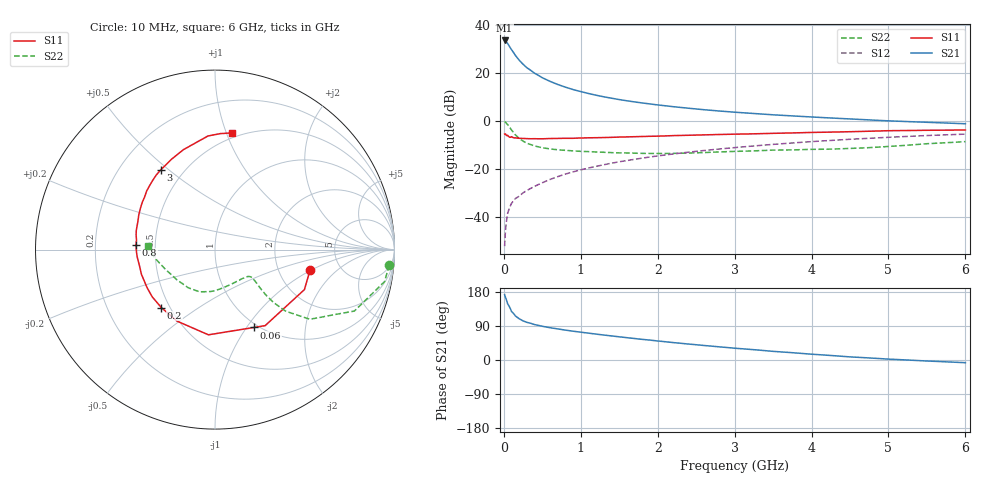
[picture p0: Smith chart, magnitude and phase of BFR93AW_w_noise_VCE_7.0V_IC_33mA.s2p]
! Infineon Technologies  Discrete & RF Semiconductors
! BFR93AW
! VCE =  7.0 V,  IC =  33 mA
! Common Emitter S-Parameters:  Jan 2017
# GHz  S  MA  R  50
!  f  S11  S21  S12  S22
! GHz  MAG  ANG  MAG  ANG  MAG  ANG  MAG  ANG
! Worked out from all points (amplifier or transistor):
!   77 points, 10 MHz to 6 GHz, reference 50 ohm
!   highest |S21| = 33.6 dB at 10 MHz (marker M1)
!   |S21| within 3 dB of that: start of sweep to 82.93 MHz
!   unconditionally stable (mu >= 1): 592.6 MHz to 2.027 GHz
!   at 130 MHz: K = 0.52, MSG = 30.7 dB, |S12| = -33.0 dB
!   at 2.2 GHz: K = 0.98, MSG = 9.9 dB, |S12| = -13.7 dB
!   at 6 GHz: K = 0.87, MSG = 2.2 dB, |S12| = -5.4 dB
!   lowest NFmin = 1.88 dB at 450 MHz
!   S11 on the Smith chart (normalised r, x): 10 MHz: 3.02, -0.97; 60 MHz: 0.95, -1.08; 200 MHz: 0.45, -0.36; 800 MHz: 0.39, +0.03; 3 GHz: 0.38, +0.47; 6 GHz: 0.46, +1.04
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0.01  0.5418 -12.1  48 172.5  0.0025 86.3  0.975 -5.1
0.02  0.5458 -24.1  47.53 166.0  0.0049 80.2  0.9612 -10.7
0.05  0.5075 -56.6  41.4 148.1  0.0121 69.2  0.8485 -23.8
0.06  0.4848 -63.5  38.98 145.0  0.0136 67.0  0.8073 -25.8
0.1  0.4762 -94.4  30.89 128.1  0.0195 61.4  0.6553 -36.3
0.15  0.4511 -118.0  23.46 116.3  0.0245 59.4  0.5204 -41.1
0.2  0.4402 -132.8  18.59 108.8  0.0275 60.1  0.4374 -42.1
0.25  0.4377 -143.1  15.34 103.2  0.0323 60.8  0.3851 -41.8
0.3  0.4338 -150.7  12.96 99.4  0.0361 62.8  0.3473 -41.0
0.4  0.4323 -161.3  9.957 93.4  0.0439 65.5  0.3049 -39.2
0.5  0.4305 -168.9  8.036 89.0  0.0523 67.6  0.2801 -38.0
0.6  0.4357 -174.7  6.759 85.2  0.0613 68.1  0.2649 -37.4
0.7  0.4383 -179.3  5.821 82.1  0.07 69.6  0.2541 -37.2
0.8  0.4409 176.5  5.12 78.9  0.0793 70.5  0.2471 -37.6
1.1  0.4513 166.3  3.777 70.9  0.106 70.4  0.2326 -41.1
1.5  0.4668 155.4  2.821 61.2  0.143 68.6  0.2189 -49.3
2.1  0.4943 141.6  2.094 48.2  0.1985 64.6  0.213 -67.4
3  0.537 124.4  1.541 31.1  0.282 56.9  0.2353 -96.4
3.1  0.5404 122.6  1.502 29.6  0.2913 55.9  0.2372 -99.3
4.1  0.5871 106.1  1.201 14.0  0.3843 46.0  0.2601 -128.4
5.1  0.6363 92.2  1.003 1.4  0.4702 35.1  0.3049 -161.7
6  0.6566 81.8  0.885 -7.1  0.5384 24.9  0.3757 177.2
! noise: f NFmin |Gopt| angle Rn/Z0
0.45  1.88  0.2  177  0.16
0.9  2.14  0.27  -173  0.16
1.9  3.19  0.51  -134  0.3
2.4  3.85  0.56  -124  0.58
